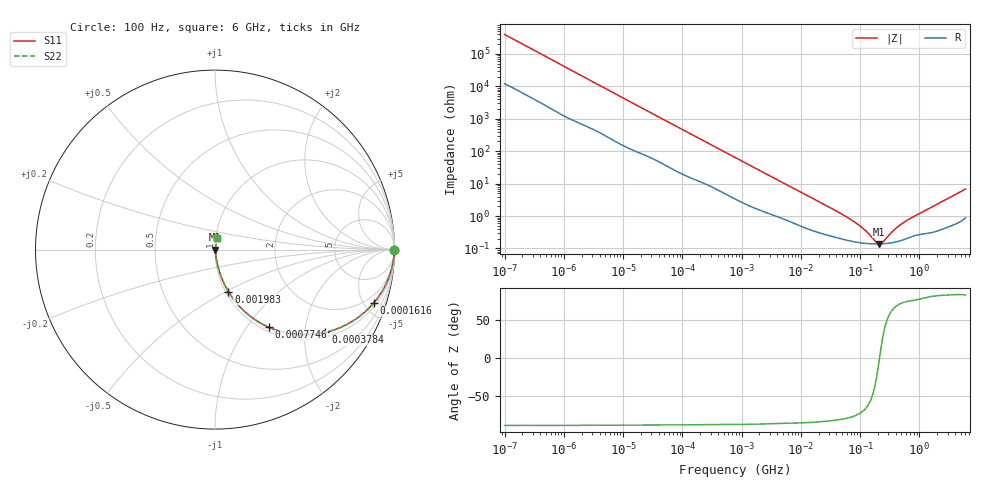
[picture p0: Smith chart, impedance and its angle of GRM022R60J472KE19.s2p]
!Murata Part Number: GRM022R60J472KE19
!These Parameters are Measured in Series Mode Connection
!Data Generated on Mar 30, 2021
!  o--ll--o
!Port1  Port2
!  o------o
!Operation Temp=25[degC], DC Bias Voltage=0[V]
!Freq. Start=100[Hz] Stop=6[GHz] 401[Steps]
# Hz S RI R 50
!Freq.(Hz) S11(Real) S11(Imag) S21(Real) S21(Imag) S12(Real) S12(Imag) S22(Real) S22(Imag)
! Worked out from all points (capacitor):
!   401 points, 100 Hz to 6 GHz, reference 50 ohm
!   read as one part in series: C = 3.95 nF near 109 Hz
!   lowest |Z| = 139 mohm at 208.8 MHz (marker M1)
!   series resonance near 213.2 MHz, so ESL is about 140 pH
!   S11 on the Smith chart (normalised r, x): 100 Hz: open; 161.6 kHz: 1.27, -5.82; 378.4 kHz: 1.13, -2.56; 774.6 kHz: 1.07, -1.28; 1.983 MHz: 1.03, -0.51; 6 GHz: 1.02, +0.13
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100  1 -0.00025  7.6e-06 0.00025  7.6e-06 0.00025  1 -0.00025
2008  0.9998 -0.00473  0.000175 0.00473  0.000175 0.00473  0.9998 -0.00473
12592  0.9982 -0.0284  0.0018 0.0284  0.0018 0.0284  0.9982 -0.0284
40335  0.9886 -0.0873  0.0114 0.0873  0.0114 0.0873  0.9886 -0.0873
90302  0.9564 -0.1844  0.0436 0.1844  0.0436 0.1844  0.9564 -0.1844
161617  0.8837 -0.2984  0.1163 0.2984  0.1163 0.2984  0.8837 -0.2984
241822  0.7839 -0.3873  0.2161 0.3873  0.2161 0.3873  0.7839 -0.3873
378399  0.6154 -0.4612  0.3846 0.4612  0.3846 0.4612  0.6154 -0.4612
774597  0.3003 -0.433  0.6997 0.433  0.6997 0.433  0.3003 -0.433
1212075  0.1597 -0.3401  0.8403 0.3401  0.8403 0.3401  0.1597 -0.3401
1983483  0.0743 -0.2339  0.9257 0.2339  0.9257 0.2339  0.0743 -0.2339
4856642  0.0197 -0.1055  0.9803 0.1055  0.9803 0.1055  0.0197 -0.1055
1.555665e7  0.0048 -0.0352  0.9952 0.0352  0.9952 0.0352  0.0048 -0.0352
7.797396e7  0.00166 -0.00663  0.9983 0.00663  0.9983 0.00663  0.00166 -0.00663
1.115611e8  0.00147 -0.00392  0.9985 0.00392  0.9985 0.00392  0.00147 -0.00392
1.825626e8  0.00138 -0.000885  0.9986 0.000885  0.9986 0.000885  0.00138 -0.000885
2.088084e8  0.00138 -0.000117  0.9986 0.000117  0.9986 0.000117  0.00138 -0.000117
2.388273e8  0.00139 0.000649  0.9986 -0.000649  0.9986 -0.000649  0.00139 0.000649
3.124326e8  0.00146 0.00223  0.9985 -0.00223  0.9985 -0.00223  0.00146 0.00223
4.470121e8  0.00168 0.00456  0.9983 -0.00456  0.9983 -0.00456  0.00168 0.00456
6.688484e8  0.0022 0.00769  0.9978 -0.00769  0.9978 -0.00769  0.0022 0.00769
6e9  0.0131 0.0659  0.9869 -0.0659  0.9869 -0.0659  0.0131 0.0659
